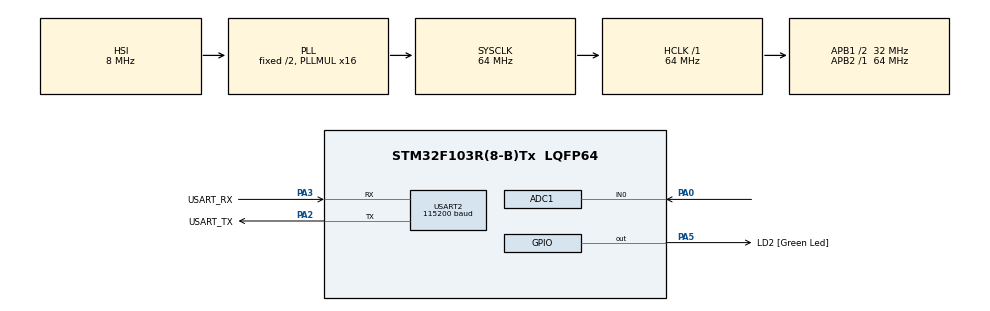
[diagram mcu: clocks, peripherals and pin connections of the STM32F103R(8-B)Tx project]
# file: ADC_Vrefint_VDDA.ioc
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ADC1.Channel-0\#ChannelRegularConversion=ADC_CHANNEL_0
ADC1.ContinuousConvMode=ENABLE
ADC1.DiscontinuousConvMode=DISABLE
ADC1.ExternalTrigConv=ADC_SOFTWARE_START
ADC1.NbrOfConversion=1
ADC1.NbrOfConversionFlag=1
ADC1.Rank-0\#ChannelRegularConversion=1
ADC1.SamplingTime-0\#ChannelRegularConversion=ADC_SAMPLETIME_239CYCLES_5
ADC1.ScanConvMode=ADC_SCAN_DISABLE
ADC1.master=1
Mcu.Family=STM32F1
Mcu.Name=STM32F103R(8-B)Tx
Mcu.Package=LQFP64
NVIC.PriorityGroup=NVIC_PRIORITYGROUP_4
PA0-WKUP.Mode=IN0
PA0-WKUP.Signal=ADCx_IN0
PA13.GPIO_Label=TMS
PA13.Mode=Serial_Wire
PA13.Signal=SYS_JTMS-SWDIO
PA14.GPIO_Label=TCK
PA14.Mode=Serial_Wire
PA14.Signal=SYS_JTCK-SWCLK
PA2.GPIO_Label=USART_TX
PA2.GPIO_Mode=GPIO_MODE_AF_PP
PA2.GPIO_PuPd=GPIO_NOPULL
PA2.GPIO_Speed=GPIO_SPEED_FREQ_LOW
PA2.Mode=Asynchronous
PA2.Signal=USART2_TX
PA3.GPIO_Label=USART_RX
PA3.GPIO_PuPd=GPIO_NOPULL
PA3.GPIO_Speed=GPIO_SPEED_FREQ_LOW
PA3.Mode=Asynchronous
PA3.Signal=USART2_RX
PA5.GPIO_Label=LD2 [Green Led]
PA5.GPIO_ModeDefaultOutputPP=GPIO_MODE_OUTPUT_PP
PA5.GPIO_PuPd=GPIO_NOPULL
PA5.GPIO_Speed=GPIO_SPEED_FREQ_LOW
PA5.Signal=GPIO_Output
PB3.GPIO_Label=SWO
PB3.Signal=SYS_JTDO-TRACESWO
PC14-OSC32_IN.Mode=LSE-External-Oscillator
PC14-OSC32_IN.Signal=RCC_OSC32_IN
PC15-OSC32_OUT.Mode=LSE-External-Oscillator
PC15-OSC32_OUT.Signal=RCC_OSC32_OUT
PD0-OSC_IN.Mode=HSE-External-Clock-Source
PD0-OSC_IN.Signal=RCC_OSC_IN
PD1-OSC_OUT.Mode=HSE-External-Clock-Source
PD1-OSC_OUT.Signal=RCC_OSC_OUT
ProjectManager.HeapSize=0x200
ProjectManager.StackSize=0x400
ProjectManager.TargetToolchain=STM32CubeIDE
RCC.ADCPresc=RCC_ADCPCLK2_DIV6
RCC.AHBFreq_Value=64000000
RCC.APB1CLKDivider=RCC_HCLK_DIV2
RCC.APB1Freq_Value=32000000
RCC.APB1TimFreq_Value=64000000
RCC.APB2Freq_Value=64000000
RCC.APB2TimFreq_Value=64000000
RCC.HCLKFreq_Value=64000000
RCC.PLLMUL=RCC_PLL_MUL16
RCC.RTCClockSelection=RCC_RTCCLKSOURCE_LSE
RCC.SYSCLKFreq_VALUE=64000000
RCC.SYSCLKSource=RCC_SYSCLKSOURCE_PLLCLK
RCC.USBFreq_Value=64000000
SH.ADCx_IN0.0=ADC1_IN0,IN0
USART2.BaudRate=115200
USART2.VirtualMode=VM_ASYNC
board=NUCLEO-F103RB

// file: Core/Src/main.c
/* USER CODE BEGIN Header */
/**
 ******************************************************************************
 * @file           : main.c
 * @brief          : Main program body
 ******************************************************************************
 * @attention
 *
 * Copyright (c) 2026 STMicroelectronics.
 * All rights reserved.
 *
 * This software is licensed under terms that can be found in the LICENSE file
 * in the root directory of this software component.
 * If no LICENSE file comes with this software, it is provided AS-IS.
 *
 ******************************************************************************
 */
/**
 * 06_ADC_Vrefint_VDDA_c  —  [계층: HAL]  내부 기준전압(Vrefint)으로 실제 VDDA 를 측정하고 ADC 값을 보정
 *
 * 문제: ADC 는 "VDDA(기준전압) 대비 비율"을 변환한다. mV = raw x 3300 / 4095 는 VDDA 가 정확히 3.3V 일 때만 맞다.
 *       USB/배터리 전원에서 VDDA 가 3.0~3.4V 로 변하면 오차가 생긴다.
 * 해법: 내부 기준전압 Vrefint(약 1.20V, 온도/전원에 거의 무관)를 ADC 로 측정하면 VDDA 를 역산할 수 있다.
 *       raw_vref = Vrefint x 4095 / VDDA   ->   VDDA = Vrefint x 4095 / raw_vref
 *       (Vrefint 는 전형값 1.20V, 개체 편차 1.16~1.24V (데이터시트). F1 은 STM32 후속 시리즈와 달리 개별 공장 교정값이 없다)
 *
 * 동작
 *   - ADC1 채널 17(Vrefint, 내부) 을 16회 평균 -> VDDA 계산
 *   - ADC1 채널 0(PA0) 도 16회 평균 -> "측정 VDDA 기준 mV" 와 "3.3V 가정 mV" 를 함께 출력해 차이를 비교
 *   - 1초마다 UART(115200) 출력
 *
 * 하드웨어 대응
 *   ADC1->CR2.TSVREFE(bit23) : 온도센서/Vrefint 활성화 (HAL 이 채널 16/17 설정 시 자동으로 켬)
 *   Vrefint 채널은 샘플 시간을 길게(239.5 사이클, 내부 소스 임피던스가 높음) 잡아야 정확하다 (데이터시트: 최소 17.1us)
 *   ADC 클럭 10.67MHz -> 239.5+12.5 = 252 사이클 = 23.6us  (요구치 만족)
 *
 * 인터럽트를 사용하지 않는다 (폴링 변환).
 */
/* USER CODE END Header */
#include "main.h"

/* USER CODE BEGIN Includes */
#include <stdio.h>
#include <string.h>
/* USER CODE END Includes */

/* USER CODE BEGIN PD */
#define VREFINT_MV 1200UL          /* 전형값. 정밀도가 필요하면 개체별로 측정/보정 */
#define N_AVG      16U

/* USER CODE END PD */

ADC_HandleTypeDef hadc1;
UART_HandleTypeDef huart2;

void SystemClock_Config(void);
static void MX_GPIO_Init(void);
static void MX_ADC1_Init(void);
static void MX_USART2_UART_Init(void);

/* USER CODE BEGIN 0 */
/* 지정 채널을 N_AVG 번 폴링 변환해 평균 */
static uint32_t adc_read_avg(uint32_t channel)
{
    ADC_ChannelConfTypeDef ch = {0};
    ch.Channel = channel;
    ch.Rank = ADC_REGULAR_RANK_1;
    ch.SamplingTime = ADC_SAMPLETIME_239CYCLES_5;
    if (HAL_ADC_ConfigChannel(&hadc1, &ch) != HAL_OK) Error_Handler();

    uint32_t sum = 0;
    for (uint32_t i = 0; i < N_AVG; i++)
    {
        HAL_ADC_Start(&hadc1);                                    /* CR2.ADON / SWSTART */
        if (HAL_ADC_PollForConversion(&hadc1, 10) != HAL_OK) Error_Handler();   /* SR.EOC */
        sum += HAL_ADC_GetValue(&hadc1);                          /* DR 읽기 */
    }
    HAL_ADC_Stop(&hadc1);
    return sum / N_AVG;
}
/* USER CODE END 0 */

int main(void)
{

  /* USER CODE BEGIN 1 */
  char msg[112];
  /* USER CODE END 1 */

  /* MCU Configuration--------------------------------------------------------*/

  /* Reset of all peripherals, Initializes the Flash interface and the Systick. */
  HAL_Init();

  /* Configure the system clock */
  SystemClock_Config();

  /* Initialize all configured peripherals */
  MX_GPIO_Init();
  MX_ADC1_Init();
  MX_USART2_UART_Init();
  /* USER CODE BEGIN 2 */
  HAL_ADCEx_Calibration_Start(&hadc1);                       /* ADC1->CR2.CAL */
  /* USER CODE END 2 */

  /* Infinite loop */
  while (1)
  {

    /* USER CODE BEGIN 3 */
    uint32_t raw_vref = adc_read_avg(ADC_CHANNEL_VREFINT);
    uint32_t raw_a0   = adc_read_avg(ADC_CHANNEL_0);

    uint32_t vdda_mv = (raw_vref != 0) ? VREFINT_MV * 4095UL / raw_vref : 0;   /* VDDA = Vrefint x 4095 / raw */
    uint32_t a0_naive = raw_a0 * 3300UL / 4095UL;                              /* VDDA=3.3V 가정 */
    uint32_t a0_corr  = raw_a0 * vdda_mv / 4095UL;                             /* 실측 VDDA 기준 */

    int n = snprintf(msg, sizeof msg, "raw_vref=%4lu -> VDDA=%4lu mV | A0 raw=%4lu : assume3.3V=%4lu mV, corrected=%4lu mV\r\n",
                     (unsigned long)raw_vref, (unsigned long)vdda_mv, (unsigned long)raw_a0,
                     (unsigned long)a0_naive, (unsigned long)a0_corr);
    HAL_UART_Transmit(&huart2, (uint8_t *)msg, (uint16_t)n, 100);
    HAL_Delay(1000);
  }
  /* USER CODE END 3 */
}

void SystemClock_Config(void)
{
  RCC_OscInitTypeDef RCC_OscInitStruct = {0};
  RCC_ClkInitTypeDef RCC_ClkInitStruct = {0};
  RCC_PeriphCLKInitTypeDef PeriphClkInit = {0};

  /** Initializes the RCC Oscillators according to the specified parameters
  * in the RCC_OscInitTypeDef structure.
  */
  RCC_OscInitStruct.OscillatorType = RCC_OSCILLATORTYPE_HSI;
  RCC_OscInitStruct.HSIState = RCC_HSI_ON;
  RCC_OscInitStruct.HSICalibrationValue = RCC_HSICALIBRATION_DEFAULT;
  RCC_OscInitStruct.PLL.PLLState = RCC_PLL_ON;
  RCC_OscInitStruct.PLL.PLLSource = RCC_PLLSOURCE_HSI_DIV2;
  RCC_OscInitStruct.PLL.PLLMUL = RCC_PLL_MUL16;
  if (HAL_RCC_OscConfig(&RCC_OscInitStruct) != HAL_OK)
  {
    Error_Handler();
  }

  /** Initializes the CPU, AHB and APB buses clocks
  */
  RCC_ClkInitStruct.ClockType = RCC_CLOCKTYPE_HCLK|RCC_CLOCKTYPE_SYSCLK
                              |RCC_CLOCKTYPE_PCLK1|RCC_CLOCKTYPE_PCLK2;
  RCC_ClkInitStruct.SYSCLKSource = RCC_SYSCLKSOURCE_PLLCLK;
  RCC_ClkInitStruct.AHBCLKDivider = RCC_SYSCLK_DIV1;
  RCC_ClkInitStruct.APB1CLKDivider = RCC_HCLK_DIV2;
  RCC_ClkInitStruct.APB2CLKDivider = RCC_HCLK_DIV1;

  if (HAL_RCC_ClockConfig(&RCC_ClkInitStruct, FLASH_LATENCY_2) != HAL_OK)
  {
    Error_Handler();
  }

  PeriphClkInit.PeriphClockSelection = RCC_PERIPHCLK_ADC;
  PeriphClkInit.AdcClockSelection = RCC_ADCPCLK2_DIV6;
  if (HAL_RCCEx_PeriphCLKConfig(&PeriphClkInit) != HAL_OK)
  {
    Error_Handler();
  }
}

static void MX_ADC1_Init(void)
{

  ADC_ChannelConfTypeDef sConfig = {0};

  /** Common config
  */
  hadc1.Instance = ADC1;
  hadc1.Init.ScanConvMode = ADC_SCAN_DISABLE;
  hadc1.Init.ContinuousConvMode = ENABLE;
  hadc1.Init.DiscontinuousConvMode = DISABLE;
  hadc1.Init.ExternalTrigConv = ADC_SOFTWARE_START;
  hadc1.Init.DataAlign = ADC_DATAALIGN_RIGHT;
  hadc1.Init.NbrOfConversion = 1;
  if (HAL_ADC_Init(&hadc1) != HAL_OK)
  {
    Error_Handler();
  }

  /** Configure Regular Channel
  */
  sConfig.Channel = ADC_CHANNEL_0;
  sConfig.Rank = ADC_REGULAR_RANK_1;
  sConfig.SamplingTime = ADC_SAMPLETIME_239CYCLES_5;
  if (HAL_ADC_ConfigChannel(&hadc1, &sConfig) != HAL_OK)
  {
    Error_Handler();
  }
  /* USER CODE BEGIN ADC1_Init 2 */
  /* 초기 채널 구성(CH0, 239.5 사이클)은 CubeMX 형식상 둔 것이다. 실제 변환 채널(Vrefint/CH0)은
   * adc_read_avg() 가 HAL_ADC_ConfigChannel() 로 매번 다시 설정한다 (ADC1->SQR3.SQ1, SMPR1/SMPR2).
   * ADC1->CR2.CONT = 1 (연속 변환). ADC 클럭 prescaler (RCC->CFGR.ADCPRE, 64/6) 는 SystemClock_Config() */
  /* USER CODE END ADC1_Init 2 */

}

static void MX_USART2_UART_Init(void)
{

  huart2.Instance = USART2;
  huart2.Init.BaudRate = 115200;
  huart2.Init.WordLength = UART_WORDLENGTH_8B;
  huart2.Init.StopBits = UART_STOPBITS_1;
  huart2.Init.Parity = UART_PARITY_NONE;
  huart2.Init.Mode = UART_MODE_TX_RX;
  huart2.Init.HwFlowCtl = UART_HWCONTROL_NONE;
  huart2.Init.OverSampling = UART_OVERSAMPLING_16;
  if (HAL_UART_Init(&huart2) != HAL_OK)
  {
    Error_Handler();
  }

}

static void MX_GPIO_Init(void)
{
  GPIO_InitTypeDef GPIO_InitStruct = {0};

  /* GPIO Ports Clock Enable */
  __HAL_RCC_GPIOC_CLK_ENABLE();
  __HAL_RCC_GPIOD_CLK_ENABLE();
  __HAL_RCC_GPIOA_CLK_ENABLE();
  __HAL_RCC_GPIOB_CLK_ENABLE();

  /*Configure GPIO pin Output Level */
  HAL_GPIO_WritePin(LD2_GPIO_Port, LD2_Pin, GPIO_PIN_RESET);

  /*Configure GPIO pin : LD2_Pin */
  GPIO_InitStruct.Pin = LD2_Pin;
  GPIO_InitStruct.Mode = GPIO_MODE_OUTPUT_PP;
  GPIO_InitStruct.Pull = GPIO_NOPULL;
  GPIO_InitStruct.Speed = GPIO_SPEED_FREQ_LOW;
  HAL_GPIO_Init(LD2_GPIO_Port, &GPIO_InitStruct);

}

void Error_Handler(void)
{
  __disable_irq();
  while (1) {
  }
}
#ifdef USE_FULL_ASSERT
/**
  * @brief  Reports the name of the source file and the source line number
  *         where the assert_param error has occurred.
  * @param  file: pointer to the source file name
  * @param  line: assert_param error line source number
  * @retval None
  */
void assert_failed(uint8_t *file, uint32_t line)
{
  /* USER CODE BEGIN 6 */
  /* User can add his own implementation to report the file name and line
     number, ex: printf("Wrong parameters value: file %s on line %d\r\n", file,
     line) */
  /* USER CODE END 6 */
}
#endif /* USE_FULL_ASSERT */
